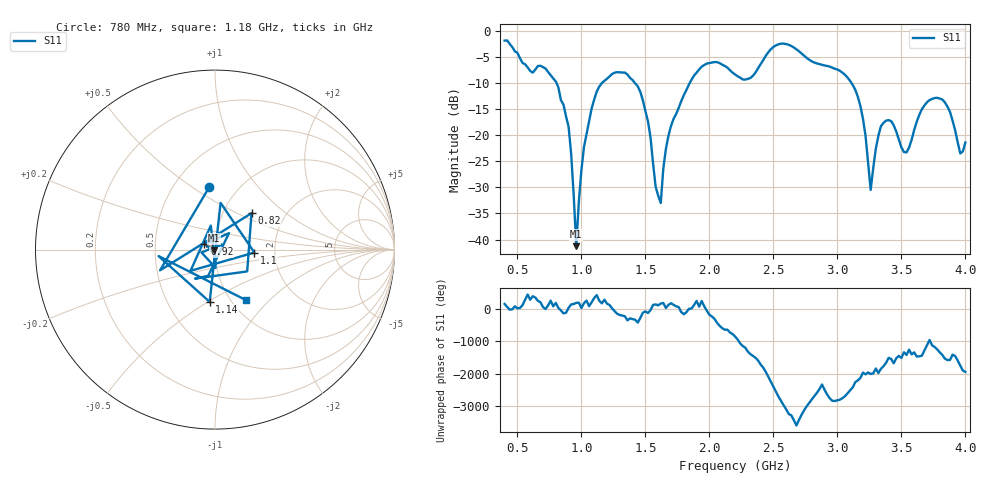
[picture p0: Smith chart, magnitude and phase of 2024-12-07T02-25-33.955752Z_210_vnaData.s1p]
!Created with skrf (http://scikit-rf.org).
# Hz S RI R 50.0
!freq ReS11 ImS11
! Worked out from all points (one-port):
!   181 points, 400 MHz to 4 GHz, reference 50 ohm
!   lowest |S11| = -41.3 dB at 960 MHz (marker M1), VSWR 1.02, Z = 49.2 - j0.318 ohm
!   |S11| at or under -10 dB: 805.3 MHz to 1.16 GHz (354.6 MHz wide, 36.1 % of centre); 1.418 GHz to 1.846 GHz (428.4 MHz wide, 26.2 % of centre); 3.11 GHz to end of sweep
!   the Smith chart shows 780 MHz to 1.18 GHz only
!   S11 on the Smith chart (normalised r, x): 780 MHz: 0.74, +0.59; 820 MHz: 1.36, +0.60; 920 MHz: 0.89, +0.05; 1.1 GHz: 1.56, -0.05; 1.14 GHz: 0.80, -0.51; 1.18 GHz: 1.17, -0.74
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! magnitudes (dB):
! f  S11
! 400 MHz  -1.9
! 780 MHz  -9.1
! 820 MHz  -10.8
! 860 MHz  -14.1
! 920 MHz  -23.6
! 960 MHz  -41.3
! 1.02 GHz  -22.3
! 1.1 GHz  -13.1
! 1.14 GHz  -10.7
! 1.18 GHz  -9.6
! 1.3 GHz  -8.0
! 1.46 GHz  -11.7
! 1.62 GHz  -33.0
! 1.66 GHz  -22.6
! 1.76 GHz  -14.8
! 1.96 GHz  -6.5
! 2.2 GHz  -8.3
! 2.66 GHz  -3.2
! 3.1 GHz  -9.6
! 3.2 GHz  -16.9
! 3.26 GHz  -30.5
! 3.3 GHz  -22.6
! 3.36 GHz  -17.6
! 3.56 GHz  -22.4
! 3.76 GHz  -12.9
! 3.88 GHz  -15.6
! 3.96 GHz  -23.5
! 4 GHz  -21.4
